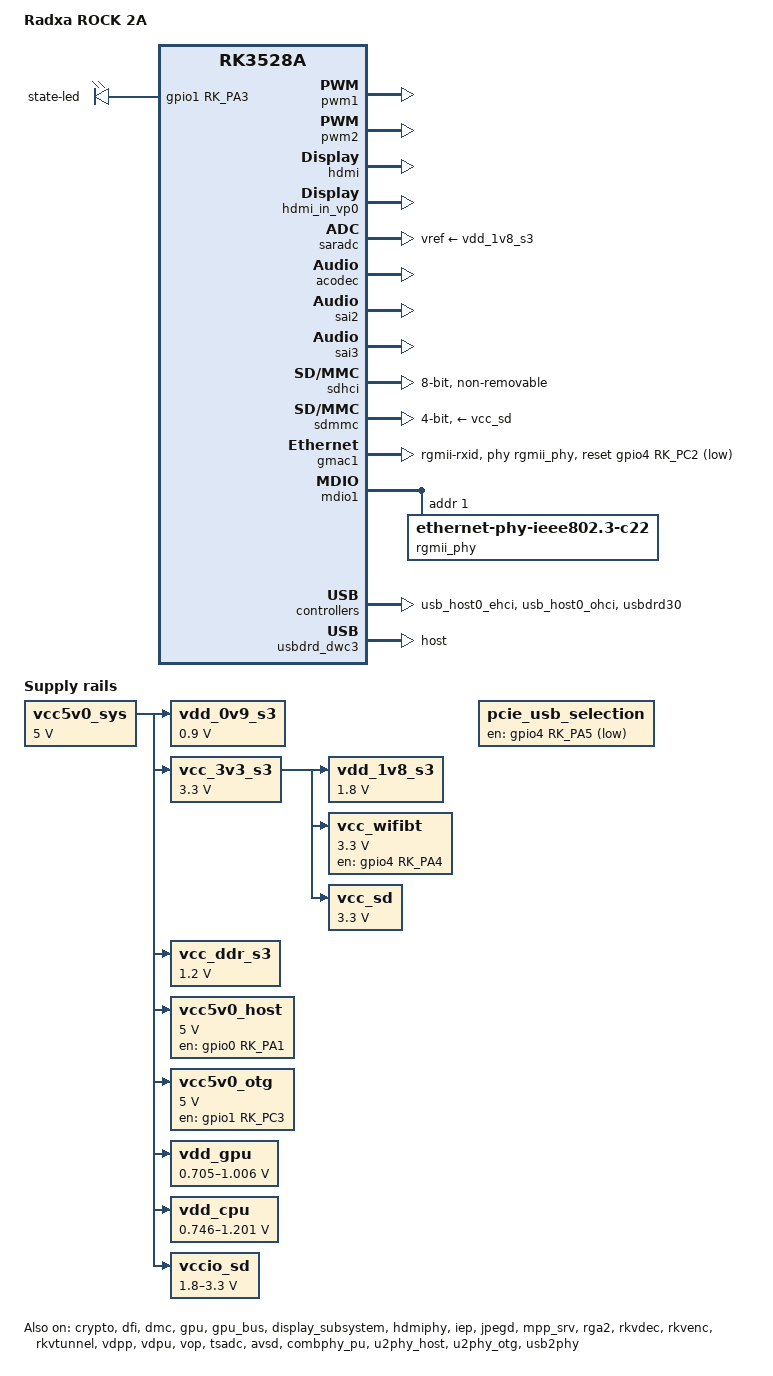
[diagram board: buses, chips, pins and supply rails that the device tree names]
// SPDX-License-Identifier: (GPL-2.0+ OR MIT)
/*
 * Copyright (c) 2022 Rockchip Electronics Co., Ltd.
 * Copyright (c) 2024 Radxa Computer (Shenzhen) Co., Ltd.
 *
 */

/dts-v1/;

#include <dt-bindings/gpio/gpio.h>
#include <dt-bindings/input/rk-input.h>
#include <dt-bindings/pinctrl/rockchip.h>
#include "rk3528.dtsi"
#include "rk3528-linux.dtsi"

/ {
	model = "Radxa ROCK 2A";
	compatible = "radxa,rock-2a", "radxa,rock-2", "rockchip,rk3528a";

	/delete-node/ chosen;

	aliases {
		mmc0 = &sdmmc;
		mmc1 = &sdhci;
		mmc2 = &sdio0;
	};

	vcc5v0_sys: vcc5v0-sys {
		compatible = "regulator-fixed";
		regulator-name = "vcc5v0_sys";
		regulator-always-on;
		regulator-boot-on;
		regulator-min-microvolt = <5000000>;
		regulator-max-microvolt = <5000000>;
	};

	vdd_0v9_s3: vdd-0v9-s3 {
		compatible = "regulator-fixed";
		regulator-name = "vdd_0v9_s3";
		regulator-always-on;
		regulator-boot-on;
		regulator-min-microvolt = <900000>;
		regulator-max-microvolt = <900000>;
		vin-supply = <&vcc5v0_sys>;
	};

	vcc_3v3_s3: vcc-3v3-s3 {
		compatible = "regulator-fixed";
		regulator-name = "vcc_3v3_s3";
		regulator-always-on;
		regulator-boot-on;
		regulator-min-microvolt = <3300000>;
		regulator-max-microvolt = <3300000>;
		vin-supply = <&vcc5v0_sys>;
	};

	vdd_1v8_s3: vdd-1v8-s3 {
		compatible = "regulator-fixed";
		regulator-name = "vdd_1v8_s3";
		regulator-always-on;
		regulator-boot-on;
		regulator-min-microvolt = <1800000>;
		regulator-max-microvolt = <1800000>;
		vin-supply = <&vcc_3v3_s3>;
	};

	vcc_ddr_s3: vcc-ddr-s3 {
		compatible = "regulator-fixed";
		regulator-name = "vcc_ddr_s3";
		regulator-always-on;
		regulator-boot-on;
		regulator-min-microvolt = <1200000>;
		regulator-max-microvolt = <1200000>;
		vin-supply = <&vcc5v0_sys>;
	};

	/* Select USB3.0 by default */
	pcie_usb_selection: pcie-usb-selection-regulator {
		compatible = "regulator-fixed";
		regulator-name = "pcie_usb_selection";
		regulator-boot-on;
		regulator-always-on;
		gpio = <&gpio4 RK_PA5 GPIO_ACTIVE_LOW>;
		pinctrl-names = "default";
		pinctrl-0 = <&pcie_usb_selection_pin>;
	};

	vcc_wifibt: vcc-wifibt-regulator {
		compatible = "regulator-fixed";
		regulator-name = "vcc_wifibt";
		regulator-boot-on;
		regulator-always-on;
		regulator-min-microvolt = <3300000>;
		regulator-max-microvolt = <3300000>;
		enable-active-high;
		gpio = <&gpio4 RK_PA4 GPIO_ACTIVE_HIGH>;
		vin-supply = <&vcc_3v3_s3>;
		pinctrl-names = "default";
		pinctrl-0 = <&vcc_wifibt_en>;
	};

	vcc5v0_host: vcc5v0-host-regulator {
		compatible = "regulator-fixed";
		regulator-name = "vcc5v0_host";
		regulator-boot-on;
		regulator-always-on;
		regulator-min-microvolt = <5000000>;
		regulator-max-microvolt = <5000000>;
		enable-active-high;
		gpio = <&gpio0 RK_PA1 GPIO_ACTIVE_HIGH>;
		vin-supply = <&vcc5v0_sys>;
		pinctrl-names = "default";
		pinctrl-0 = <&vcc5v0_host_en>;
	};

	vcc5v0_otg: vcc5v0-otg-regulator {
		compatible = "regulator-fixed";
		regulator-name = "vcc5v0_otg";
		regulator-min-microvolt = <5000000>;
		regulator-max-microvolt = <5000000>;
		enable-active-high;
		gpio = <&gpio1 RK_PC3 GPIO_ACTIVE_HIGH>;
		vin-supply = <&vcc5v0_sys>;
		pinctrl-names = "default";
		pinctrl-0 = <&vcc5v0_otg_en>;
	};

	vdd_gpu: vdd_logic: vdd-logic {
		compatible = "pwm-regulator";
		pwms = <&pwm2 0 5000 1>;
		regulator-name = "vdd_logic";
		regulator-min-microvolt = <705000>;
		regulator-max-microvolt = <1006000>;
		regulator-init-microvolt = <900000>;
		regulator-always-on;
		regulator-boot-on;
		regulator-settling-time-up-us = <250>;
		pwm-supply = <&vcc5v0_sys>;
		status = "okay";
	};

	vdd_cpu: vdd-cpu {
		compatible = "pwm-regulator";
		pwms = <&pwm1 0 5000 1>;
		regulator-name = "vdd_cpu";
		regulator-min-microvolt = <746000>;
		regulator-max-microvolt = <1201000>;
		regulator-init-microvolt = <953000>;
		regulator-always-on;
		regulator-boot-on;
		regulator-settling-time-up-us = <250>;
		pwm-supply = <&vcc5v0_sys>;
		status = "okay";
	};

	vccio_sd: vccio-sd {
		compatible = "regulator-gpio";
		regulator-name = "vccio_sd";
		regulator-min-microvolt = <1800000>;
		regulator-max-microvolt = <3300000>;
		gpios = <&gpio1 RK_PC1 GPIO_ACTIVE_HIGH>;
		vin-supply = <&vcc5v0_sys>;
		states = <1800000 0x0
			  3300000 0x1>;
	};

	vcc_sd: vcc-sd {
		compatible = "regulator-fixed";
		regulator-name = "vcc_sd";
		regulator-min-microvolt = <3300000>;
		regulator-max-microvolt = <3300000>;
		vin-supply = <&vcc_3v3_s3>;
	};

	hdmi_sound: hdmi-sound {
		status = "okay";
		compatible = "simple-audio-card";
		simple-audio-card,format = "i2s";
		simple-audio-card,mclk-fs = <128>;
		simple-audio-card,name = "rockchip-hdmi0";
		simple-audio-card,cpu {
			sound-dai = <&sai3>;
		};
		simple-audio-card,codec {
			sound-dai = <&hdmi>;
		};
	};

	acodec_sound: acodec-sound {
		status = "okay";
		compatible = "simple-audio-card";
		simple-audio-card,name = "rk3528-acodec";
		simple-audio-card,format = "i2s";
		simple-audio-card,mclk-fs = <256>;
		simple-audio-card,cpu {
			sound-dai = <&sai2>;
		};
		simple-audio-card,codec {
			sound-dai = <&acodec>;
		};
	};

	gpio_leds: gpio-leds {
		compatible = "gpio-leds";

		state-led {
			gpios = <&gpio1 RK_PA3 GPIO_ACTIVE_HIGH>;
			linux,default-trigger = "heartbeat";
		};
	};
};

&pwm1 {
	status = "okay";
};

&pwm2 {
	status = "okay";
};

&cpu0 {
	cpu-supply = <&vdd_cpu>;
};

&crypto {
	status = "okay";
};

&dfi {
	status = "okay";
};

&dmc {
	center-supply = <&vdd_logic>;
	status = "okay";
};

&gpu {
	mali-supply = <&vdd_gpu>;
	status = "okay";
};

&gpu_bus {
	bus-supply = <&vdd_logic>;
	status = "okay";
};

&display_subsystem {
	status = "okay";
};

&hdmi {
	status = "okay";
};

&hdmi_in_vp0 {
	status = "okay";
};

&hdmiphy {
	status = "okay";
};

&tve {
	status = "disabled";
};

&tve_in_vp1 {
	status = "disabled";
};

&iep {
	status = "okay";
};

&iep_mmu {
	status = "okay";
};

&jpegd {
	status = "okay";
};

&jpegd_mmu {
	status = "okay";
};

&mpp_srv {
	status = "okay";
};

&rga2 {
	status = "okay";
};

&rga2_mmu {
	status = "okay";
};

&rkvdec {
	status = "okay";
};

&rkvdec_mmu {
	status = "okay";
};

&rkvenc {
	status = "okay";
};

&rkvenc_mmu {
	status = "okay";
};

&rkvtunnel {
	status = "okay";
};

&rockchip_suspend {
	status = "okay";
	rockchip,sleep-debug-en = <1>;
	rockchip,virtual-poweroff = <1>;
	rockchip,sleep-mode-config = <
		(0
		| RKPM_SLP_ARMPD
		)
	>;
	rockchip,wakeup-config = <
		(0
		| RKPM_CPU0_WKUP_EN
		| RKPM_GPIO_WKUP_EN
		)
	>;
	rockchip,pwm-regulator-config = <
		(0
		| RKPM_PWM0_M0_REGULATOR_EN
		| RKPM_PWM1_M0_REGULATOR_EN
		)
	>;
};

&vdpp {
	status = "okay";
};

&vdpu {
	status = "okay";
};

&vdpu_mmu {
	status = "okay";
};

&vop {
	status = "okay";
};

&vop_mmu {
	status = "okay";
};

&tsadc {
	status = "okay";
};

&saradc {
	status = "okay";
	vref-supply = <&vdd_1v8_s3>;
};

&acodec {
	pa-ctl-gpios = <&gpio0 RK_PA0 GPIO_ACTIVE_HIGH>;
	status = "okay";
};

&avsd {
	status = "okay";
};

&sai2 {
	status = "okay";
};

&sai3 {
	status = "okay";
};

&sdhci {
	bus-width = <8>;
	no-sd;
	no-sdio;
	non-removable;
	mmc-hs400-1_8v;
	mmc-hs400-enhanced-strobe;
	max-frequency = <200000000>;
	status = "okay";
};

&sdmmc {
	bus-width = <4>;
	cap-mmc-highspeed;
	cap-sd-highspeed;
	disable-wp;
	max-frequency = <150000000>;
	pinctrl-names = "default";
	pinctrl-0 = <&sdmmc_clk &sdmmc_cmd &sdmmc_det &sdmmc_bus4>;
	rockchip,default-sample-phase = <90>;
	supports-sd;
	sd-uhs-sdr12;
	sd-uhs-sdr25;
	sd-uhs-sdr50;
	sd-uhs-sdr104;
	vqmmc-supply = <&vccio_sd>;
	vmmc-supply = <&vcc_sd>;
	status = "okay";
};

&gmac1 {
	/* Use rgmii-rxid mode to disable rx delay inside Soc */
	phy-mode = "rgmii-rxid";
	clock_in_out = "output";

	snps,reset-gpio = <&gpio4 RK_PC2 GPIO_ACTIVE_LOW>;
	snps,reset-active-low;
	/* Reset time is 20ms, 100ms for rtl8211f */
	snps,reset-delays-us = <0 20000 100000>;

	tx_delay = <0x30>;
	/* rx_delay = <0x3f>; */

	pinctrl-names = "default";
	pinctrl-0 = <&rgmii_miim
		     &rgmii_tx_bus2
		     &rgmii_rx_bus2
		     &rgmii_rgmii_clk
		     &rgmii_rgmii_bus>;

	phy-handle = <&rgmii_phy>;
	status = "okay";
};

&mdio1 {
	rgmii_phy: phy@1 {
		compatible = "ethernet-phy-ieee802.3-c22";
		reg = <0x1>;
	};
};

&combphy_pu {
	status = "okay";
};

&u2phy_host {
	phy-supply = <&vcc5v0_host>;
	status = "okay";
};

&u2phy_otg {
	vbus-supply = <&vcc5v0_otg>;
	status = "okay";
};

&usb2phy {
	status = "okay";
};

&usb_host0_ehci {
	status = "okay";
};

&usb_host0_ohci {
	status = "okay";
};

&usbdrd30 {
	status = "okay";
};

&usbdrd_dwc3 {
	dr_mode = "host";
	extcon = <&usb2phy>;
	status = "okay";
};

&pinctrl {
	usb {
		vcc5v0_host_en: vcc5v0-host-en {
			rockchip,pins = <0 RK_PA1 RK_FUNC_GPIO &pcfg_pull_none>;
		};

		vcc5v0_otg_en: vcc5v0-otg-en {
			rockchip,pins = <1 RK_PC3 RK_FUNC_GPIO &pcfg_pull_none>;
		};

		pcie_usb_selection_pin: pcie-usb-selection-pin {
			rockchip,pins = <4 RK_PA5 RK_FUNC_GPIO &pcfg_pull_none>;
		};
	};

	wifi-bt {
		vcc_wifibt_en: vcc-wifibt-en {
			rockchip,pins = <4 RK_PA4 RK_FUNC_GPIO &pcfg_pull_none>;
		};
	};
};

&gpio0 {
	gpio-line-names =
		/* GPIO0_A0-A3 */
		"", "", "", "",
		/* GPIO0_A4-A7 */
		"", "", "", "",

		/* GPIO0_B0-B3 */
		"", "", "", "",
		/* GPIO0_B4-B7 */
		"", "", "", "",

		/* GPIO0_C0-C3 */
		"", "", "", "",
		/* GPIO0_C4-C7 */
		"", "", "", "",

		/* GPIO0_D0-D3 */
		"", "", "", "",
		/* GPIO0_D4-D7 */
		"", "", "", "";
};

&gpio1 {
	gpio-line-names =
		/* GPIO1_A0-A3 */
		"", "", "", "",
		/* GPIO1_A4-A7 */
		"", "", "", "",

		/* GPIO1_B0-B3 */
		"PIN_31", "PIN_33", "PIN_22", "",
		/* GPIO1_B4-B7 */
		"PIN_36", "PIN_12", "PIN_35", "PIN_38",

		/* GPIO1_C0-C3 */
		"PIN_40", "", "", "",
		/* GPIO1_C4-C7 */
		"", "", "", "",

		/* GPIO1_D0-D3 */
		"", "", "", "",
		/* GPIO1_D4-D7 */
		"", "", "", "";
};

&gpio2 {
	gpio-line-names =
		/* GPIO2_A0-A3 */
		"", "", "", "",
		/* GPIO2_A4-A7 */
		"", "", "", "",

		/* GPIO2_B0-B3 */
		"", "", "", "",
		/* GPIO2_B4-B7 */
		"", "", "", "",

		/* GPIO2_C0-C3 */
		"", "", "", "",
		/* GPIO2_C4-C7 */
		"", "", "", "",

		/* GPIO2_D0-D3 */
		"", "", "", "",
		/* GPIO2_D4-D7 */
		"", "", "", "";
};

&gpio3 {
	gpio-line-names =
		/* GPIO3_A0-A3 */
		"", "", "", "",
		/* GPIO3_A4-A7 */
		"", "", "", "",

		/* GPIO3_B0-B3 */
		"", "", "", "",
		/* GPIO3_B4-B7 */
		"", "", "", "",

		/* GPIO3_C0-C3 */
		"", "", "", "",
		/* GPIO3_C4-C7 */
		"", "", "", "",

		/* GPIO3_D0-D3 */
		"", "", "", "",
		/* GPIO3_D4-D7 */
		"", "", "", "";
};

&gpio4 {
	gpio-line-names =
		/* GPIO4_A0-A3 */
		"PIN_3", "PIN_5", "PIN_27", "PIN_28",
		/* GPIO4_A4-A7 */
		"", "", "PIN_7", "",

		/* GPIO4_B0-B3 */
		"PIN_16", "PIN_18", "PIN_19", "PIN_21",
		/* GPIO4_B4-B7 */
		"PIN_23", "PIN_29", "PIN_24", "PIN_11",

		/* GPIO4_C0-C3 */
		"PIN_13", "PIN_26", "", "PIN_32",
		/* GPIO4_C4-C7 */
		"", "", "PIN_15", "PIN_10",

		/* GPIO4_D0-D3 */
		"PIN_8", "", "", "",
		/* GPIO4_D4-D7 */
		"", "", "", "";
};
